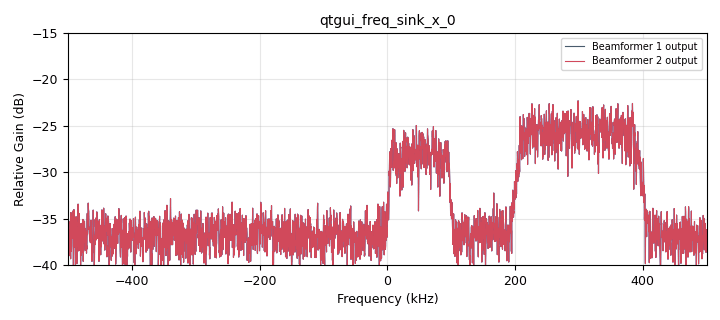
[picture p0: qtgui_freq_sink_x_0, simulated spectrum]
options:
  parameters:
    author: Daniel Estevez
    generate_options: qt_gui
    id: beamformer_array_demo
    output_language: python
    title: Beamformer array demo
  states: {}

blocks:
- name: antenna_separation
  id: variable
  parameters:
    comment: This is in wavelength units
    value: '0.5'
  states: {}
- name: beamforming_angle
  id: variable_qtgui_range
  parameters:
    label: beamforming angle 1
    start: '0'
    step: '0.1'
    stop: '180'
    value: '0'
  states: {}
- name: beamforming_angle2
  id: variable_qtgui_entry
  parameters:
    label: Beamforming angle 2 (deg)
    type: real
    value: '0'
  states: {}
- name: beamforming_angle_dummy
  id: variable_qtgui_entry
  parameters:
    label: Beamforming angle (deg)
    type: real
    value: '0'
  states: {}
- name: samp_rate
  id: variable
  parameters:
    value: '1000000'
  states: {}
- name: signal_angle
  id: variable_qtgui_range
  parameters:
    label: signal angle 1
    start: '0'
    step: '0.1'
    stop: '180'
    value: '0'
  states: {}
- name: signal_angle2
  id: variable_qtgui_entry
  parameters:
    label: Signal 2 angle (deg)
    type: real
    value: '0'
  states: {}
- name: signal_angle_dummy
  id: variable_qtgui_entry
  parameters:
    label: Signal 1 angle (deg)
    type: real
    value: '0'
  states: {}
- name: wideband_bandwidth
  id: variable_qtgui_entry
  parameters:
    label: Signal 1 bandwidth (kHz)
    type: real
    value: '100'
  states: {}
- name: wideband_bandwidth2
  id: variable_qtgui_entry
  parameters:
    label: Signal 2 bandwidth (kHz)
    type: real
    value: '200'
  states: {}
- name: wideband_frequency
  id: variable_qtgui_entry
  parameters:
    label: Signal 1 frequency (kHz)
    type: real
    value: '50'
  states: {}
- name: wideband_frequency2
  id: variable_qtgui_entry
  parameters:
    label: Signal 2 frequency (kHz)
    type: real
    value: '300'
  states: {}
- name: wideband_snr
  id: variable_qtgui_entry
  parameters:
    label: Signal 1 SNR (dB)
    type: real
    value: '0'
  states: {}
- name: wideband_snr2
  id: variable_qtgui_entry
  parameters:
    label: Signal 2 SNR (dB)
    type: real
    value: '3'
  states: {}
- name: analog_noise_source_x_0
  id: analog_noise_source_x
  parameters:
    amp: '1'
    noise_type: analog.GR_GAUSSIAN
    seed: '0'
    type: complex
  states: {}
- name: analog_noise_source_x_0_0
  id: analog_noise_source_x
  parameters:
    amp: '1'
    noise_type: analog.GR_GAUSSIAN
    seed: '1'
    type: complex
  states: {}
- name: analog_noise_source_x_0_1
  id: analog_noise_source_x
  parameters:
    amp: '1'
    noise_type: analog.GR_GAUSSIAN
    seed: '2'
    type: complex
  states: {}
- name: analog_noise_source_x_0_2
  id: analog_noise_source_x
  parameters:
    amp: '1'
    noise_type: analog.GR_GAUSSIAN
    seed: '3'
    type: complex
  states: {}
- name: analog_noise_source_x_0_3
  id: analog_noise_source_x
  parameters:
    amp: '1'
    noise_type: analog.GR_GAUSSIAN
    seed: '4'
    type: complex
  states: {}
- name: analog_noise_source_x_0_4
  id: analog_noise_source_x
  parameters:
    amp: '1'
    noise_type: analog.GR_GAUSSIAN
    seed: '5'
    type: complex
  states: {}
- name: analog_noise_source_x_1
  id: analog_noise_source_x
  parameters:
    amp: np.sqrt(10**(wideband_snr/10.0)/(samp_rate/(wideband_bandwidth*1e3)))
    noise_type: analog.GR_GAUSSIAN
    seed: '100'
    type: complex
  states: {}
- name: analog_noise_source_x_1_0
  id: analog_noise_source_x
  parameters:
    amp: np.sqrt(10**(wideband_snr2/10.0)/(samp_rate/(wideband_bandwidth2*1e3)))
    noise_type: analog.GR_GAUSSIAN
    seed: '101'
    type: complex
  states: {}
- name: analog_sig_source_x_0
  id: analog_sig_source_x
  parameters:
    amp: '1'
    freq: wideband_frequency*1e3
    offset: '0'
    phase: '0'
    samp_rate: samp_rate
    type: complex
    waveform: analog.GR_COS_WAVE
  states: {}
- name: analog_sig_source_x_0_0
  id: analog_sig_source_x
  parameters:
    amp: '1'
    freq: wideband_frequency2*1e3
    offset: '0'
    phase: '0'
    samp_rate: samp_rate
    type: complex
    waveform: analog.GR_COS_WAVE
  states: {}
- name: blocks_add_xx_0
  id: blocks_add_xx
  parameters:
    num_inputs: '3'
    type: complex
  states: {}
- name: blocks_add_xx_0_0
  id: blocks_add_xx
  parameters:
    num_inputs: '3'
    type: complex
  states: {}
- name: blocks_add_xx_0_1
  id: blocks_add_xx
  parameters:
    num_inputs: '3'
    type: complex
  states: {}
- name: blocks_add_xx_0_2
  id: blocks_add_xx
  parameters:
    num_inputs: '3'
    type: complex
  states: {}
- name: blocks_add_xx_0_3
  id: blocks_add_xx
  parameters:
    num_inputs: '3'
    type: complex
  states: {}
- name: blocks_add_xx_0_4
  id: blocks_add_xx
  parameters:
    num_inputs: '3'
    type: complex
  states: {}
- name: blocks_add_xx_1
  id: blocks_add_xx
  parameters:
    num_inputs: '6'
    type: complex
  states: {}
- name: blocks_add_xx_1_0
  id: blocks_add_xx
  parameters:
    num_inputs: '6'
    type: complex
  states: {}
- name: blocks_multiply_xx_0
  id: blocks_multiply_xx
  parameters:
    type: complex
  states: {}
- name: blocks_multiply_xx_0_0
  id: blocks_multiply_xx
  parameters:
    type: complex
  states: {}
- name: blocks_phase_shift_0
  id: blocks_phase_shift
  parameters:
    is_radians: 'True'
    shift: 0 * 2 * np.pi * antenna_separation * np.sin(np.deg2rad(signal_angle))
  states: {}
- name: blocks_phase_shift_0_0
  id: blocks_phase_shift
  parameters:
    is_radians: 'True'
    shift: '-0 * 2 * np.pi * antenna_separation * np.sin(np.deg2rad(beamforming_angle))'
  states: {}
- name: blocks_phase_shift_0_0_0
  id: blocks_phase_shift
  parameters:
    is_radians: 'True'
    shift: '-0 * 2 * np.pi * antenna_separation * np.sin(np.deg2rad(beamforming_angle2))'
  states: {}
- name: blocks_phase_shift_0_0_0_0
  id: blocks_phase_shift
  parameters:
    is_radians: 'True'
    shift: '-1 * 2 * np.pi * antenna_separation * np.sin(np.deg2rad(beamforming_angle2))'
  states: {}
- name: blocks_phase_shift_0_0_0_1
  id: blocks_phase_shift
  parameters:
    is_radians: 'True'
    shift: '-2 * 2 * np.pi * antenna_separation * np.sin(np.deg2rad(beamforming_angle2))'
  states: {}
- name: blocks_phase_shift_0_0_0_2
  id: blocks_phase_shift
  parameters:
    is_radians: 'True'
    shift: '-3 * 2 * np.pi * antenna_separation * np.sin(np.deg2rad(beamforming_angle2))'
  states: {}
- name: blocks_phase_shift_0_0_0_3
  id: blocks_phase_shift
  parameters:
    is_radians: 'True'
    shift: '-4 * 2 * np.pi * antenna_separation * np.sin(np.deg2rad(beamforming_angle2))'
  states: {}
- name: blocks_phase_shift_0_0_0_4
  id: blocks_phase_shift
  parameters:
    is_radians: 'True'
    shift: '-4 * 2 * np.pi * antenna_separation * np.sin(np.deg2rad(beamforming_angle2))'
  states: {}
- name: blocks_phase_shift_0_0_1
  id: blocks_phase_shift
  parameters:
    is_radians: 'True'
    shift: '-1 * 2 * np.pi * antenna_separation * np.sin(np.deg2rad(beamforming_angle))'
  states: {}
- name: blocks_phase_shift_0_0_2
  id: blocks_phase_shift
  parameters:
    is_radians: 'True'
    shift: '-2 * 2 * np.pi * antenna_separation * np.sin(np.deg2rad(beamforming_angle))'
  states: {}
- name: blocks_phase_shift_0_0_3
  id: blocks_phase_shift
  parameters:
    is_radians: 'True'
    shift: '-3 * 2 * np.pi * antenna_separation * np.sin(np.deg2rad(beamforming_angle))'
  states: {}
- name: blocks_phase_shift_0_0_4
  id: blocks_phase_shift
  parameters:
    is_radians: 'True'
    shift: '-4 * 2 * np.pi * antenna_separation * np.sin(np.deg2rad(beamforming_angle))'
  states: {}
- name: blocks_phase_shift_0_0_5
  id: blocks_phase_shift
  parameters:
    is_radians: 'True'
    shift: '-4 * 2 * np.pi * antenna_separation * np.sin(np.deg2rad(beamforming_angle))'
  states: {}
- name: blocks_phase_shift_0_1
  id: blocks_phase_shift
  parameters:
    is_radians: 'True'
    shift: 0 * 2 * np.pi * antenna_separation * np.sin(np.deg2rad(signal_angle2))
  states: {}
- name: blocks_phase_shift_0_1_0
  id: blocks_phase_shift
  parameters:
    is_radians: 'True'
    shift: 1 * 2 * np.pi * antenna_separation * np.sin(np.deg2rad(signal_angle2))
  states: {}
- name: blocks_phase_shift_0_1_1
  id: blocks_phase_shift
  parameters:
    is_radians: 'True'
    shift: 2 * 2 * np.pi * antenna_separation * np.sin(np.deg2rad(signal_angle2))
  states: {}
- name: blocks_phase_shift_0_1_2
  id: blocks_phase_shift
  parameters:
    is_radians: 'True'
    shift: 3 * 2 * np.pi * antenna_separation * np.sin(np.deg2rad(signal_angle2))
  states: {}
- name: blocks_phase_shift_0_1_3
  id: blocks_phase_shift
  parameters:
    is_radians: 'True'
    shift: 4 * 2 * np.pi * antenna_separation * np.sin(np.deg2rad(signal_angle2))
  states: {}
- name: blocks_phase_shift_0_1_4
  id: blocks_phase_shift
  parameters:
    is_radians: 'True'
    shift: 4 * 2 * np.pi * antenna_separation * np.sin(np.deg2rad(signal_angle2))
  states: {}
- name: blocks_phase_shift_0_2
  id: blocks_phase_shift
  parameters:
    is_radians: 'True'
    shift: 1 * 2 * np.pi * antenna_separation * np.sin(np.deg2rad(signal_angle))
  states: {}
- name: blocks_phase_shift_0_3
  id: blocks_phase_shift
  parameters:
    is_radians: 'True'
    shift: 2 * 2 * np.pi * antenna_separation * np.sin(np.deg2rad(signal_angle))
  states: {}
- name: blocks_phase_shift_0_4
  id: blocks_phase_shift
  parameters:
    is_radians: 'True'
    shift: 3 * 2 * np.pi * antenna_separation * np.sin(np.deg2rad(signal_angle))
  states: {}
- name: blocks_phase_shift_0_5
  id: blocks_phase_shift
  parameters:
    is_radians: 'True'
    shift: 4 * 2 * np.pi * antenna_separation * np.sin(np.deg2rad(signal_angle))
  states: {}
- name: blocks_phase_shift_0_6
  id: blocks_phase_shift
  parameters:
    is_radians: 'True'
    shift: 4 * 2 * np.pi * antenna_separation * np.sin(np.deg2rad(signal_angle))
  states: {}
- name: blocks_throttle2_0
  id: blocks_throttle2
  parameters:
    samples_per_second: samp_rate
    type: complex
  states: {}
- name: import_0
  id: import
  parameters:
    imports: import numpy as np
  states: {}
- name: note_0
  id: note
  parameters:
    note: Antenna 1
  states: {}
- name: note_0_0
  id: note
  parameters:
    note: Antenna 2
  states: {}
- name: note_0_1
  id: note
  parameters:
    note: Antenna 3
  states: {}
- name: note_0_2
  id: note
  parameters:
    note: Antenna 4
  states: {}
- name: note_0_3
  id: note
  parameters:
    note: Antenna 5
  states: {}
- name: note_0_4
  id: note
  parameters:
    note: Antenna 6
  states: {}
- name: pfb_arb_resampler_xxx_0
  id: pfb_arb_resampler_xxx
  parameters:
    atten: '100'
    nfilts: '32'
    rrate: samp_rate/(wideband_bandwidth*1e3)
    type: ccf
  states: {}
- name: pfb_arb_resampler_xxx_0_0
  id: pfb_arb_resampler_xxx
  parameters:
    atten: '100'
    nfilts: '32'
    rrate: samp_rate/(wideband_bandwidth2*1e3)
    type: ccf
  states: {}
- name: qtgui_freq_sink_x_0
  id: qtgui_freq_sink_x
  parameters:
    average: '0.05'
    bw: samp_rate
    fc: '0'
    fftsize: '4096'
    label1: Beamformer 1 output
    label2: Beamformer 2 output
    nconnections: '2'
    type: complex
    ymax: '-15'
    ymin: '-40'
  states: {}
- name: virtual_sink_0
  id: virtual_sink
  parameters:
    stream_id: astro_signal
  states: {}
- name: virtual_sink_0_0
  id: virtual_sink
  parameters:
    stream_id: astro_signal2
  states: {}
- name: virtual_source_0
  id: virtual_source
  parameters:
    stream_id: astro_signal
  states: {}
- name: virtual_source_0_0
  id: virtual_source
  parameters:
    stream_id: astro_signal2
  states: {}
- name: virtual_source_0_0_0
  id: virtual_source
  parameters:
    stream_id: astro_signal2
  states: {}
- name: virtual_source_0_0_1
  id: virtual_source
  parameters:
    stream_id: astro_signal2
  states: {}
- name: virtual_source_0_0_2
  id: virtual_source
  parameters:
    stream_id: astro_signal2
  states: {}
- name: virtual_source_0_0_3
  id: virtual_source
  parameters:
    stream_id: astro_signal2
  states: {}
- name: virtual_source_0_0_4
  id: virtual_source
  parameters:
    stream_id: astro_signal2
  states: {}
- name: virtual_source_0_1
  id: virtual_source
  parameters:
    stream_id: astro_signal
  states: {}
- name: virtual_source_0_2
  id: virtual_source
  parameters:
    stream_id: astro_signal
  states: {}
- name: virtual_source_0_3
  id: virtual_source
  parameters:
    stream_id: astro_signal
  states: {}
- name: virtual_source_0_4
  id: virtual_source
  parameters:
    stream_id: astro_signal
  states: {}
- name: virtual_source_0_5
  id: virtual_source
  parameters:
    stream_id: astro_signal
  states: {}

connections:
- [analog_noise_source_x_0, '0', blocks_add_xx_0, '2']
- [analog_noise_source_x_0_0, '0', blocks_add_xx_0_0, '2']
- [analog_noise_source_x_0_1, '0', blocks_add_xx_0_1, '2']
- [analog_noise_source_x_0_2, '0', blocks_add_xx_0_2, '2']
- [analog_noise_source_x_0_3, '0', blocks_add_xx_0_3, '2']
- [analog_noise_source_x_0_4, '0', blocks_add_xx_0_4, '2']
- [analog_noise_source_x_1, '0', pfb_arb_resampler_xxx_0, '0']
- [analog_noise_source_x_1_0, '0', pfb_arb_resampler_xxx_0_0, '0']
- [analog_sig_source_x_0, '0', blocks_multiply_xx_0, '1']
- [analog_sig_source_x_0_0, '0', blocks_multiply_xx_0_0, '1']
- [blocks_add_xx_0, '0', blocks_phase_shift_0_0, '0']
- [blocks_add_xx_0, '0', blocks_phase_shift_0_0_0, '0']
- [blocks_add_xx_0_0, '0', blocks_phase_shift_0_0_0_0, '0']
- [blocks_add_xx_0_0, '0', blocks_phase_shift_0_0_1, '0']
- [blocks_add_xx_0_1, '0', blocks_phase_shift_0_0_0_1, '0']
- [blocks_add_xx_0_1, '0', blocks_phase_shift_0_0_2, '0']
- [blocks_add_xx_0_2, '0', blocks_phase_shift_0_0_0_2, '0']
- [blocks_add_xx_0_2, '0', blocks_phase_shift_0_0_3, '0']
- [blocks_add_xx_0_3, '0', blocks_phase_shift_0_0_0_3, '0']
- [blocks_add_xx_0_3, '0', blocks_phase_shift_0_0_4, '0']
- [blocks_add_xx_0_4, '0', blocks_phase_shift_0_0_0_4, '0']
- [blocks_add_xx_0_4, '0', blocks_phase_shift_0_0_5, '0']
- [blocks_add_xx_1, '0', qtgui_freq_sink_x_0, '0']
- [blocks_add_xx_1_0, '0', qtgui_freq_sink_x_0, '1']
- [blocks_multiply_xx_0, '0', blocks_throttle2_0, '0']
- [blocks_multiply_xx_0_0, '0', virtual_sink_0_0, '0']
- [blocks_phase_shift_0, '0', blocks_add_xx_0, '0']
- [blocks_phase_shift_0_0, '0', blocks_add_xx_1, '0']
- [blocks_phase_shift_0_0_0, '0', blocks_add_xx_1_0, '0']
- [blocks_phase_shift_0_0_0_0, '0', blocks_add_xx_1_0, '1']
- [blocks_phase_shift_0_0_0_1, '0', blocks_add_xx_1_0, '2']
- [blocks_phase_shift_0_0_0_2, '0', blocks_add_xx_1_0, '3']
- [blocks_phase_shift_0_0_0_3, '0', blocks_add_xx_1_0, '4']
- [blocks_phase_shift_0_0_0_4, '0', blocks_add_xx_1_0, '5']
- [blocks_phase_shift_0_0_1, '0', blocks_add_xx_1, '1']
- [blocks_phase_shift_0_0_2, '0', blocks_add_xx_1, '2']
- [blocks_phase_shift_0_0_3, '0', blocks_add_xx_1, '3']
- [blocks_phase_shift_0_0_4, '0', blocks_add_xx_1, '4']
- [blocks_phase_shift_0_0_5, '0', blocks_add_xx_1, '5']
- [blocks_phase_shift_0_1, '0', blocks_add_xx_0, '1']
- [blocks_phase_shift_0_1_0, '0', blocks_add_xx_0_0, '1']
- [blocks_phase_shift_0_1_1, '0', blocks_add_xx_0_1, '1']
- [blocks_phase_shift_0_1_2, '0', blocks_add_xx_0_2, '1']
- [blocks_phase_shift_0_1_3, '0', blocks_add_xx_0_3, '1']
- [blocks_phase_shift_0_1_4, '0', blocks_add_xx_0_4, '1']
- [blocks_phase_shift_0_2, '0', blocks_add_xx_0_0, '0']
- [blocks_phase_shift_0_3, '0', blocks_add_xx_0_1, '0']
- [blocks_phase_shift_0_4, '0', blocks_add_xx_0_2, '0']
- [blocks_phase_shift_0_5, '0', blocks_add_xx_0_3, '0']
- [blocks_phase_shift_0_6, '0', blocks_add_xx_0_4, '0']
- [blocks_throttle2_0, '0', virtual_sink_0, '0']
- [pfb_arb_resampler_xxx_0, '0', blocks_multiply_xx_0, '0']
- [pfb_arb_resampler_xxx_0_0, '0', blocks_multiply_xx_0_0, '0']
- [virtual_source_0, '0', blocks_phase_shift_0, '0']
- [virtual_source_0_0, '0', blocks_phase_shift_0_1, '0']
- [virtual_source_0_0_0, '0', blocks_phase_shift_0_1_0, '0']
- [virtual_source_0_0_1, '0', blocks_phase_shift_0_1_1, '0']
- [virtual_source_0_0_2, '0', blocks_phase_shift_0_1_2, '0']
- [virtual_source_0_0_3, '0', blocks_phase_shift_0_1_3, '0']
- [virtual_source_0_0_4, '0', blocks_phase_shift_0_1_4, '0']
- [virtual_source_0_1, '0', blocks_phase_shift_0_2, '0']
- [virtual_source_0_2, '0', blocks_phase_shift_0_3, '0']
- [virtual_source_0_3, '0', blocks_phase_shift_0_4, '0']
- [virtual_source_0_4, '0', blocks_phase_shift_0_5, '0']
- [virtual_source_0_5, '0', blocks_phase_shift_0_6, '0']

metadata:
  file_format: 1
  grc_version: 3.10.12.0
